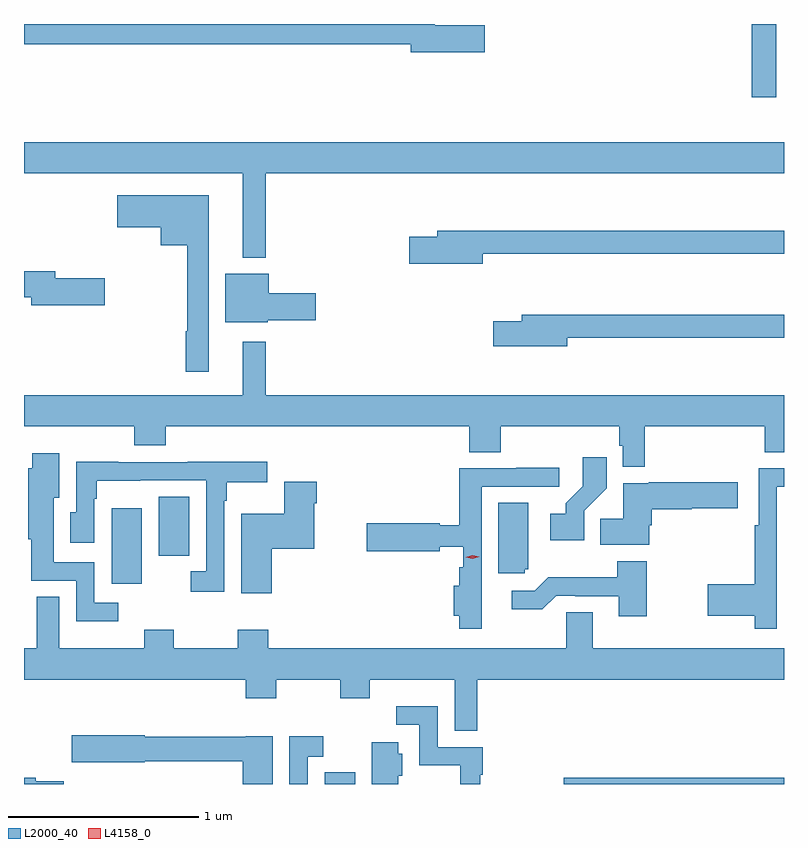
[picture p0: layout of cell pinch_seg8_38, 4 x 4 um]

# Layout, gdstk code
import gdstk
lib = gdstk.Library(unit=1e-6, precision=1e-09)
def R(c, l, rs):  # rectangles x0, y0, x1, y1
    for r in rs: c.add(gdstk.rectangle(r[:2], r[2:], *l))
def P(c, l, *ps):  # polygons
    for p in ps: c.add(gdstk.Polygon(p, *l))
L2000_40 = (2000, 40)
L4158_0 = (4158, 0)

pinch_seg8_38 = lib.new_cell('pinch_seg8_38')
R(pinch_seg8_38, L2000_40, [(923.465,1123.942,923.626,1124.004), (924.725,1123.942,925.883,1123.976), (922.346,1124.996,922.504,1125.394), (922.592,1125.144,922.753,1125.455), (925.712,1127.556,925.843,1127.942)])
P(pinch_seg8_38, L2000_40, [(924.307,1127.936),(924.046,1127.936),(924.046,1127.942),(921.883,1127.942),(921.883,1127.836),(923.918,1127.836),(923.918,1127.794),(924.307,1127.794)],
  [(923.155,1127.156),(925.883,1127.156),(925.883,1127.32),(921.883,1127.32),(921.883,1127.156),(923.033,1127.156),(923.033,1126.712),(923.155,1126.712)],
  [(922.855,1127.041),(922.374,1127.041),(922.374,1126.871),(922.604,1126.871),(922.604,1126.778),(922.741,1126.778),(922.741,1126.325),(922.734,1126.325),(922.734,1126.113),(922.855,1126.113)],
  [(924.298,1126.734),(925.883,1126.734),(925.883,1126.855),(924.059,1126.855),(924.059,1126.821),(923.91,1126.821),(923.91,1126.679),(924.298,1126.679)],
  [(922.309,1126.604),(922.048,1126.604),(922.048,1126.64),(921.883,1126.64),(921.883,1126.504),(921.92,1126.504),(921.92,1126.462),(922.309,1126.462)],
  [(923.166,1126.384),(923.419,1126.384),(923.419,1126.526),(923.17,1126.526),(923.17,1126.627),(922.943,1126.627),(922.943,1126.373),(923.166,1126.373)],
  [(924.742,1126.29),(925.883,1126.29),(925.883,1126.411),(924.503,1126.411),(924.503,1126.377),(924.354,1126.377),(924.354,1126.247),(924.742,1126.247)],
  [(925.151,1125.824),(925.781,1125.824),(925.781,1125.688),(925.883,1125.688),(925.883,1125.988),(923.155,1125.988),(923.155,1126.27),(923.033,1126.27),(923.033,1125.988),(921.883,1125.988),(921.883,1125.824),(922.463,1125.824),(922.463,1125.725),(922.628,1125.725),(922.628,1125.824),(924.227,1125.824),(924.227,1125.688),(924.392,1125.688),(924.392,1125.824),(925.015,1125.824),(925.015,1125.723),(925.035,1125.723),(925.035,1125.611),(925.151,1125.611)],
  [(922.378,1124.895),(922.254,1124.895),(922.254,1125.108),(922.039,1125.108),(922.039,1125.449),(922.069,1125.449),(922.069,1125.682),(921.926,1125.682),(921.926,1125.603),(921.905,1125.603),(921.905,1125.231),(921.921,1125.231),(921.921,1125.012),(922.158,1125.012),(922.158,1124.798),(922.378,1124.798)],
  [(924.831,1125.379),(924.95,1125.498),(924.95,1125.661),(924.825,1125.661),(924.825,1125.509),(924.734,1125.419),(924.734,1125.364),(924.654,1125.364),(924.654,1125.224),(924.831,1125.224)],
  [(922.938,1125.434),(922.951,1125.434),(922.951,1125.53),(923.164,1125.53),(923.164,1125.638),(922.745,1125.638),(922.745,1125.636),(922.379,1125.636),(922.379,1125.638),(922.158,1125.638),(922.158,1125.372),(922.127,1125.372),(922.127,1125.213),(922.254,1125.213),(922.254,1125.443),(922.267,1125.443),(922.267,1125.539),(922.496,1125.539),(922.496,1125.54),(922.842,1125.54),(922.842,1125.063),(922.761,1125.063),(922.761,1124.955),(922.938,1124.955)],
  [(924.292,1124.982),(924.291,1124.982),(924.291,1125.507),(924.7,1125.507),(924.7,1125.606),(924.475,1125.606),(924.475,1125.603),(924.175,1125.603),(924.175,1125.304),(924.072,1125.304),(924.072,1125.314),(923.688,1125.314),(923.688,1125.167),(924.072,1125.167),(924.072,1125.191),(924.195,1125.191),(924.195,1125.083),(924.175,1125.083),(924.175,1124.986),(924.146,1124.986),(924.146,1124.828),(924.175,1124.828),(924.175,1124.76),(924.292,1124.76)],
  [(925.846,1124.982),(925.845,1124.982),(925.845,1125.507),(925.883,1125.507),(925.883,1125.603),(925.749,1125.603),(925.749,1125.305),(925.729,1125.305),(925.729,1124.994),(925.482,1124.994),(925.482,1124.828),(925.729,1124.828),(925.729,1124.76),(925.846,1124.76)],
  [(923.186,1125.179),(923.41,1125.179),(923.41,1125.419),(923.423,1125.419),(923.423,1125.532),(923.252,1125.532),(923.252,1125.364),(923.027,1125.364),(923.027,1124.946),(923.186,1124.946)],
  [(925.174,1125.305),(925.187,1125.305),(925.187,1125.389),(925.398,1125.389),(925.398,1125.394),(925.639,1125.394),(925.639,1125.531),(925.17,1125.531),(925.17,1125.526),(925.037,1125.526),(925.037,1125.338),(924.916,1125.338),(924.916,1125.2),(925.174,1125.2)],
  [(924.519,1125.072),(924.538,1125.072),(924.538,1125.421),(924.38,1125.421),(924.38,1125.051),(924.519,1125.051)],
  [(925.161,1125.115),(925.006,1125.115),(925.006,1125.031),(924.643,1125.031),(924.57,1124.958),(924.45,1124.958),(924.45,1124.861),(924.611,1124.861),(924.684,1124.934),(924.784,1124.934),(924.784,1124.931),(925.013,1124.931),(925.013,1124.826),(925.161,1124.826)],
  [(924.268,1124.492),(925.883,1124.492),(925.883,1124.656),(924.877,1124.656),(924.877,1124.846),(924.738,1124.846),(924.738,1124.656),(923.168,1124.656),(923.168,1124.755),(923.008,1124.755),(923.008,1124.656),(922.671,1124.656),(922.671,1124.755),(922.516,1124.755),(922.516,1124.656),(922.069,1124.656),(922.069,1124.927),(921.951,1124.927),(921.951,1124.656),(921.883,1124.656),(921.883,1124.492),(923.051,1124.492),(923.051,1124.393),(923.211,1124.393),(923.211,1124.492),(923.548,1124.492),(923.548,1124.393),(923.703,1124.393),(923.703,1124.492),(924.149,1124.492),(924.149,1124.221),(924.268,1124.221)],
  [(924.283,1123.992),(924.298,1123.992),(924.298,1124.136),(924.06,1124.136),(924.06,1124.35),(923.841,1124.35),(923.841,1124.253),(923.964,1124.253),(923.964,1124.04),(924.179,1124.04),(924.179,1123.942),(924.283,1123.942)],
  [(923.191,1124.194),(923.049,1124.194),(923.049,1124.191),(922.518,1124.191),(922.518,1124.199),(922.134,1124.199),(922.134,1124.057),(922.518,1124.057),(922.518,1124.062),(923.033,1124.062),(923.033,1123.942),(923.191,1123.942)],
  [(923.376,1124.085),(923.458,1124.085),(923.458,1124.194),(923.28,1124.194),(923.28,1123.942),(923.376,1123.942)],
  [(923.854,1123.986),(923.875,1123.986),(923.875,1124.1),(923.854,1124.1),(923.854,1124.161),(923.714,1124.161),(923.714,1123.942),(923.854,1123.942)],
  [(922.091,1123.956),(921.944,1123.956),(921.944,1123.976),(921.883,1123.976),(921.883,1123.942),(922.091,1123.942)])
P(pinch_seg8_38, L4158_0, [(924.244,1125.127),(924.209,1125.135),(924.209,1125.136),(924.209,1125.136),(924.243,1125.147),(924.279,1125.138),(924.279,1125.138),(924.279,1125.138)])

lib.write_gds('pinch_seg8_38.gds')
